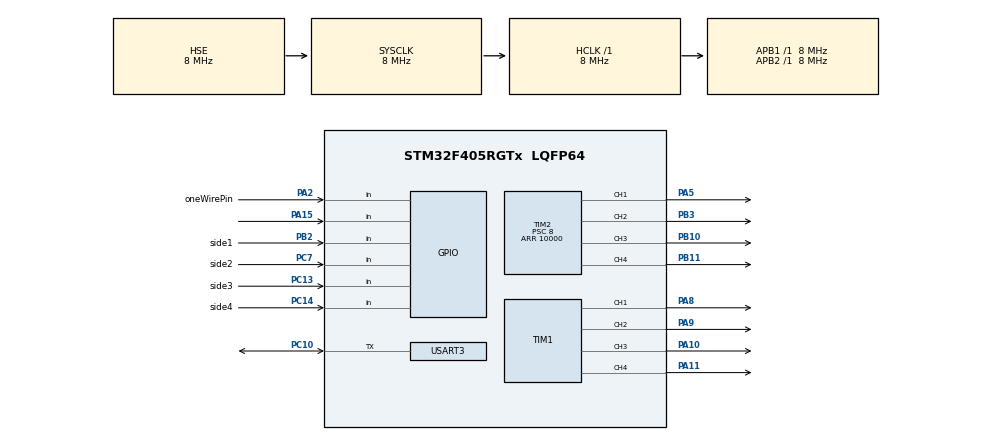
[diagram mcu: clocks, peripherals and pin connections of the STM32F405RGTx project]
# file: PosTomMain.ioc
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Mcu.Family=STM32F4
NVIC.USART3_IRQn=true\:0\:0\:false\:false\:true\:true\:true
Dma.USART3_RX.0.PeriphInc=DMA_PINC_DISABLE
PH0-OSC_IN.Signal=RCC_OSC_IN
SH.S_TIM1_CH4.0=TIM1_CH4,PWM Generation4 CH4
RCC.CortexFreq_Value=8000000
Dma.USART3_TX.1.MemInc=DMA_MINC_ENABLE
PC10.Signal=USART3_TX
Dma.USART3_TX.1.PeriphDataAlignment=DMA_PDATAALIGN_BYTE
Dma.USART3_TX.1.Instance=DMA1_Stream3
TIM2.Channel-PWM\ Generation2\ CH2=TIM_CHANNEL_2
PB11.Signal=S_TIM2_CH4
RCC.SYSCLKSource=RCC_SYSCLKSOURCE_HSE
ProjectManager.StackSize=0x400
TIM1.Channel-PWM\ Generation4\ CH4=TIM_CHANNEL_4
RCC.HCLKFreq_Value=8000000
RCC.APB2TimFreq_Value=8000000
TIM3.Period=10
PB6.Signal=USART1_TX
PC7.Signal=GPIO_Input
RCC.AHBFreq_Value=8000000
PH0-OSC_IN.Mode=HSE-External-Oscillator
RCC.HSE_VALUE=8000000
Dma.USART3_RX.0.MemDataAlignment=DMA_MDATAALIGN_BYTE
PB2.Signal=GPIO_Input
Dma.USART3_TX.1.Mode=DMA_NORMAL
PC13-ANTI_TAMP.Signal=GPIO_Input
TIM1.Channel-PWM\ Generation1\ CH1=TIM_CHANNEL_1
PA14.Mode=Serial_Wire
TIM3.Prescaler=1
Dma.USART3_RX.0.PeriphDataAlignment=DMA_PDATAALIGN_BYTE
PB7.Signal=USART1_RX
Dma.USART3_RX.0.FIFOMode=DMA_FIFOMODE_DISABLE
PA8.Signal=S_TIM1_CH1
TIM2.Channel-PWM\ Generation1\ CH1=TIM_CHANNEL_1
Dma.USART3_TX.1.FIFOMode=DMA_FIFOMODE_DISABLE
Dma.USART3_TX.1.Priority=DMA_PRIORITY_LOW
PH1-OSC_OUT.Mode=HSE-External-Oscillator
Dma.USART3_RX.0.Direction=DMA_PERIPH_TO_MEMORY
Mcu.Package=LQFP64
TIM2.Prescaler=8
PA2.GPIO_Label=oneWirePin
PA10.Signal=S_TIM1_CH3
PA15.Signal=GPIO_Input
Dma.USART3_RX.0.MemInc=DMA_MINC_ENABLE
Dma.Request1=USART3_TX
RCC.APB1TimFreq_Value=8000000
PC14-OSC32_IN.GPIO_Label=side4
Dma.USART3_TX.1.PeriphInc=DMA_PINC_DISABLE
Dma.Request0=USART3_RX
VP_TIM3_VS_ClockSourceINT.Mode=Internal
Dma.USART3_RX.0.Instance=DMA1_Stream1
RCC.PLLSourceVirtual=RCC_PLLSOURCE_HSE
Dma.USART3_TX.1.MemDataAlignment=DMA_MDATAALIGN_BYTE
TIM2.Channel-PWM\ Generation4\ CH4=TIM_CHANNEL_4
PC13-ANTI_TAMP.GPIO_Label=side3
PC10.Mode=Half_duplex(single_wire_mode)
NVIC.DMA1_Stream1_IRQn=true\:0\:0\:false\:false\:true\:false\:true
PC14-OSC32_IN.Signal=GPIO_Input
Dma.USART3_RX.0.Mode=DMA_NORMAL
PA13.Signal=SYS_JTMS-SWDIO
SH.S_TIM2_CH2.0=TIM2_CH2,PWM Generation2 CH2
SH.S_TIM1_CH1.0=TIM1_CH1,PWM Generation1 CH1
ProjectManager.TargetToolchain=STM32CubeIDE
PA9.Signal=S_TIM1_CH2
TIM1.Channel-PWM\ Generation2\ CH2=TIM_CHANNEL_2
RCC.LSE_VALUE=32768
PB10.Signal=S_TIM2_CH3
PA5.Signal=S_TIM2_CH1_ETR
board=custom
RCC.VCOOutputFreq_Value=96000000
NVIC.TIM3_IRQn=true\:0\:0\:false\:false\:true\:true\:true
USART3.WordLength=WORDLENGTH_9B
RCC.APB2Freq_Value=8000000
VP_TIM2_VS_ClockSourceINT.Mode=Internal
SH.S_TIM1_CH2.0=TIM1_CH2,PWM Generation2 CH2
SH.S_TIM2_CH3.0=TIM2_CH3,PWM Generation3 CH3
TIM2.Channel-PWM\ Generation3\ CH3=TIM_CHANNEL_3
PH1-OSC_OUT.Signal=RCC_OSC_OUT
TIM2.Period=10000
PA13.Mode=Serial_Wire
Mcu.Name=STM32F405RGTx
PA2.Signal=GPIO_Input
PC7.GPIO_Label=side2
RCC.48MHZClocksFreq_Value=24000000
PB3.Signal=S_TIM2_CH2
RCC.SYSCLKFreq_VALUE=8000000
Dma.USART3_RX.0.Priority=DMA_PRIORITY_LOW
USART3.VirtualMode=VM_ASYNC
PA11.Signal=S_TIM1_CH4
SH.S_TIM2_CH1_ETR.0=TIM2_CH1,PWM Generation1 CH1
PA14.Signal=SYS_JTCK-SWCLK
PB2.GPIO_Label=side1
ProjectManager.HeapSize=0x200
SH.S_TIM2_CH4.0=TIM2_CH4,PWM Generation4 CH4
SH.S_TIM1_CH3.0=TIM1_CH3,PWM Generation3 CH3
RCC.HSI_VALUE=16000000
NVIC.PriorityGroup=NVIC_PRIORITYGROUP_4
Dma.USART3_TX.1.Direction=DMA_MEMORY_TO_PERIPH
NVIC.DMA1_Stream3_IRQn=true\:0\:0\:false\:false\:true\:false\:true
TIM1.Channel-PWM\ Generation3\ CH3=TIM_CHANNEL_3
RCC.APB1Freq_Value=8000000
USART3.Parity=PARITY_ODD

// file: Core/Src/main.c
/* USER CODE BEGIN Header */
/**
 ******************************************************************************
 * @file           : main.c
 * @brief          : Main program body
 ******************************************************************************
 * @attention
 *
 * <h2><center>&copy; Copyright (c) 2020 STMicroelectronics.
 * All rights reserved.</center></h2>
 *
 * This software component is licensed by ST under BSD 3-Clause license,
 * the "License"; You may not use this file except in compliance with the
 * License. You may obtain a copy of the License at:
 *                        opensource.org/licenses/BSD-3-Clause
 *
 ******************************************************************************
 */
/* USER CODE END Header */
#include "main.h"

/* USER CODE BEGIN Includes */
#include "ledOutput.h"
#include <stdbool.h>
/* USER CODE END Includes */

/* USER CODE BEGIN PD */
#define BUFSIZE 12	//8 for address, 2 for cmd, 2 for param
/* USER CODE END PD */

TIM_HandleTypeDef htim1;
TIM_HandleTypeDef htim2;
TIM_HandleTypeDef htim3;

UART_HandleTypeDef huart3;
DMA_HandleTypeDef hdma_usart3_rx;
DMA_HandleTypeDef hdma_usart3_tx;

/* USER CODE BEGIN PV */
uint8_t tx_buff[BUFSIZE] = { 0, };
uint8_t rx_buff[BUFSIZE] = { 0, };

int LastZero = -1;
int LastDiscrepancy = -1;
int i = 0; //bit_number
int k = 0;
int task = 0;
int cellsamount = 0;
uint8_t addresses[30][8] = { 0, };
union {
	float f;
	uint8_t array[4];
} temp;
/* USER CODE END PV */

void SystemClock_Config(void);
static void MX_GPIO_Init(void);
static void MX_DMA_Init(void);
static void MX_TIM1_Init(void);
static void MX_TIM2_Init(void);
static void MX_TIM3_Init(void);
static void MX_USART3_UART_Init(void);

int main(void) {

	/* MCU Configuration--------------------------------------------------------*/

	/* Reset of all peripherals, Initializes the Flash interface and the Systick. */
	HAL_Init();

	/* Configure the system clock */
	SystemClock_Config();

	/* Initialize all configured peripherals */
	MX_GPIO_Init();
	MX_DMA_Init();
	MX_TIM1_Init();
	MX_TIM2_Init();
	MX_TIM3_Init();
	MX_USART3_UART_Init();
	/* USER CODE BEGIN 2 */
	HAL_TIM_PWM_Start(&htim1, TIM_CHANNEL_1);
	HAL_TIM_PWM_Start(&htim1, TIM_CHANNEL_2);
	HAL_TIM_PWM_Start(&htim1, TIM_CHANNEL_3);
	TIM1->CCR1 = 1;
	TIM1->CCR2 = 1;
	TIM1->CCR3 = 1;
	/* USER CODE END 2 */

	/* Infinite loop */
	/* USER CODE BEGIN WHILE */
	tx_buff[0] = 0x00;
	tx_buff[1] = 0x00;
	tx_buff[2] = 0x00;
	tx_buff[3] = 0x00;
	tx_buff[4] = 0x00;
	tx_buff[5] = 0x00;
	tx_buff[6] = 0x00;
	tx_buff[7] = 0x00;

	tx_buff[8] = 0x00;
	tx_buff[9] = 0x01;

	tx_buff[10] = 0x00;
	tx_buff[11] = 0x00;

	task = 1;

	/*tx_buff[0] = 0xff;
	 tx_buff[1] = 0xff;
	 tx_buff[2] = 0xaa;
	 tx_buff[3] = 0xff;
	 tx_buff[4] = 0xaa;
	 tx_buff[5] = 0xff;
	 tx_buff[6] = 0xaa;
	 tx_buff[7] = 0xff;

	 tx_buff[8] = 0x00;
	 tx_buff[9] = 0x02;

	 tx_buff[10] = 0x00;
	 tx_buff[11] = 0x00;

	 task = 2;
	 HAL_HalfDuplex_EnableTransmitter(&huart3);
	 HAL_UART_Transmit_DMA(&huart3, tx_buff, BUFSIZE);*/

	for (int wait = 0; wait < 100; wait++)
		;
	HAL_HalfDuplex_EnableTransmitter(&huart3);
	if (HAL_UART_Transmit_DMA(&huart3, tx_buff, BUFSIZE) == !HAL_OK) {
		Error_Handler();
	}

	while (1) {

		/* USER CODE END WHILE */

	}
}

void SystemClock_Config(void) {
	RCC_OscInitTypeDef RCC_OscInitStruct = { 0 };
	RCC_ClkInitTypeDef RCC_ClkInitStruct = { 0 };

	/** Configure the main internal regulator output voltage
	 */
	__HAL_RCC_PWR_CLK_ENABLE();
	__HAL_PWR_VOLTAGESCALING_CONFIG(PWR_REGULATOR_VOLTAGE_SCALE1);
	/** Initializes the RCC Oscillators according to the specified parameters
	 * in the RCC_OscInitTypeDef structure.
	 */
	RCC_OscInitStruct.OscillatorType = RCC_OSCILLATORTYPE_HSE;
	RCC_OscInitStruct.HSEState = RCC_HSE_ON;
	RCC_OscInitStruct.PLL.PLLState = RCC_PLL_NONE;
	if (HAL_RCC_OscConfig(&RCC_OscInitStruct) != HAL_OK) {
		Error_Handler();
	}
	/** Initializes the CPU, AHB and APB buses clocks
	 */
	RCC_ClkInitStruct.ClockType = RCC_CLOCKTYPE_HCLK | RCC_CLOCKTYPE_SYSCLK
			| RCC_CLOCKTYPE_PCLK1 | RCC_CLOCKTYPE_PCLK2;
	RCC_ClkInitStruct.SYSCLKSource = RCC_SYSCLKSOURCE_HSE;
	RCC_ClkInitStruct.AHBCLKDivider = RCC_SYSCLK_DIV1;
	RCC_ClkInitStruct.APB1CLKDivider = RCC_HCLK_DIV1;
	RCC_ClkInitStruct.APB2CLKDivider = RCC_HCLK_DIV1;

	if (HAL_RCC_ClockConfig(&RCC_ClkInitStruct, FLASH_LATENCY_0) != HAL_OK) {
		Error_Handler();
	}
}

static void MX_TIM1_Init(void) {

	TIM_MasterConfigTypeDef sMasterConfig = { 0 };
	TIM_OC_InitTypeDef sConfigOC = { 0 };
	TIM_BreakDeadTimeConfigTypeDef sBreakDeadTimeConfig = { 0 };

	htim1.Instance = TIM1;
	htim1.Init.Prescaler = 0;
	htim1.Init.CounterMode = TIM_COUNTERMODE_UP;
	htim1.Init.Period = 65535;
	htim1.Init.ClockDivision = TIM_CLOCKDIVISION_DIV1;
	htim1.Init.RepetitionCounter = 0;
	htim1.Init.AutoReloadPreload = TIM_AUTORELOAD_PRELOAD_DISABLE;
	if (HAL_TIM_PWM_Init(&htim1) != HAL_OK) {
		Error_Handler();
	}
	sMasterConfig.MasterOutputTrigger = TIM_TRGO_RESET;
	sMasterConfig.MasterSlaveMode = TIM_MASTERSLAVEMODE_DISABLE;
	if (HAL_TIMEx_MasterConfigSynchronization(&htim1, &sMasterConfig)
			!= HAL_OK) {
		Error_Handler();
	}
	sConfigOC.OCMode = TIM_OCMODE_PWM1;
	sConfigOC.Pulse = 0;
	sConfigOC.OCPolarity = TIM_OCPOLARITY_HIGH;
	sConfigOC.OCNPolarity = TIM_OCNPOLARITY_HIGH;
	sConfigOC.OCFastMode = TIM_OCFAST_DISABLE;
	sConfigOC.OCIdleState = TIM_OCIDLESTATE_RESET;
	sConfigOC.OCNIdleState = TIM_OCNIDLESTATE_RESET;
	if (HAL_TIM_PWM_ConfigChannel(&htim1, &sConfigOC, TIM_CHANNEL_1)
			!= HAL_OK) {
		Error_Handler();
	}
	if (HAL_TIM_PWM_ConfigChannel(&htim1, &sConfigOC, TIM_CHANNEL_2)
			!= HAL_OK) {
		Error_Handler();
	}
	if (HAL_TIM_PWM_ConfigChannel(&htim1, &sConfigOC, TIM_CHANNEL_3)
			!= HAL_OK) {
		Error_Handler();
	}
	if (HAL_TIM_PWM_ConfigChannel(&htim1, &sConfigOC, TIM_CHANNEL_4)
			!= HAL_OK) {
		Error_Handler();
	}
	sBreakDeadTimeConfig.OffStateRunMode = TIM_OSSR_DISABLE;
	sBreakDeadTimeConfig.OffStateIDLEMode = TIM_OSSI_DISABLE;
	sBreakDeadTimeConfig.LockLevel = TIM_LOCKLEVEL_OFF;
	sBreakDeadTimeConfig.DeadTime = 0;
	sBreakDeadTimeConfig.BreakState = TIM_BREAK_DISABLE;
	sBreakDeadTimeConfig.BreakPolarity = TIM_BREAKPOLARITY_HIGH;
	sBreakDeadTimeConfig.AutomaticOutput = TIM_AUTOMATICOUTPUT_DISABLE;
	if (HAL_TIMEx_ConfigBreakDeadTime(&htim1, &sBreakDeadTimeConfig)
			!= HAL_OK) {
		Error_Handler();
	}
	HAL_TIM_MspPostInit(&htim1);

}

static void MX_TIM2_Init(void) {

	TIM_ClockConfigTypeDef sClockSourceConfig = { 0 };
	TIM_MasterConfigTypeDef sMasterConfig = { 0 };
	TIM_OC_InitTypeDef sConfigOC = { 0 };

	htim2.Instance = TIM2;
	htim2.Init.Prescaler = 8;
	htim2.Init.CounterMode = TIM_COUNTERMODE_UP;
	htim2.Init.Period = 10000;
	htim2.Init.ClockDivision = TIM_CLOCKDIVISION_DIV1;
	htim2.Init.AutoReloadPreload = TIM_AUTORELOAD_PRELOAD_DISABLE;
	if (HAL_TIM_Base_Init(&htim2) != HAL_OK) {
		Error_Handler();
	}
	sClockSourceConfig.ClockSource = TIM_CLOCKSOURCE_INTERNAL;
	if (HAL_TIM_ConfigClockSource(&htim2, &sClockSourceConfig) != HAL_OK) {
		Error_Handler();
	}
	if (HAL_TIM_PWM_Init(&htim2) != HAL_OK) {
		Error_Handler();
	}
	sMasterConfig.MasterOutputTrigger = TIM_TRGO_RESET;
	sMasterConfig.MasterSlaveMode = TIM_MASTERSLAVEMODE_DISABLE;
	if (HAL_TIMEx_MasterConfigSynchronization(&htim2, &sMasterConfig)
			!= HAL_OK) {
		Error_Handler();
	}
	sConfigOC.OCMode = TIM_OCMODE_PWM1;
	sConfigOC.Pulse = 0;
	sConfigOC.OCPolarity = TIM_OCPOLARITY_HIGH;
	sConfigOC.OCFastMode = TIM_OCFAST_DISABLE;
	if (HAL_TIM_PWM_ConfigChannel(&htim2, &sConfigOC, TIM_CHANNEL_1)
			!= HAL_OK) {
		Error_Handler();
	}
	if (HAL_TIM_PWM_ConfigChannel(&htim2, &sConfigOC, TIM_CHANNEL_2)
			!= HAL_OK) {
		Error_Handler();
	}
	if (HAL_TIM_PWM_ConfigChannel(&htim2, &sConfigOC, TIM_CHANNEL_3)
			!= HAL_OK) {
		Error_Handler();
	}
	if (HAL_TIM_PWM_ConfigChannel(&htim2, &sConfigOC, TIM_CHANNEL_4)
			!= HAL_OK) {
		Error_Handler();
	}
	HAL_TIM_MspPostInit(&htim2);

}

static void MX_TIM3_Init(void) {

	TIM_ClockConfigTypeDef sClockSourceConfig = { 0 };
	TIM_MasterConfigTypeDef sMasterConfig = { 0 };

	htim3.Instance = TIM3;
	htim3.Init.Prescaler = 1;
	htim3.Init.CounterMode = TIM_COUNTERMODE_UP;
	htim3.Init.Period = 10;
	htim3.Init.ClockDivision = TIM_CLOCKDIVISION_DIV1;
	htim3.Init.AutoReloadPreload = TIM_AUTORELOAD_PRELOAD_DISABLE;
	if (HAL_TIM_Base_Init(&htim3) != HAL_OK) {
		Error_Handler();
	}
	sClockSourceConfig.ClockSource = TIM_CLOCKSOURCE_INTERNAL;
	if (HAL_TIM_ConfigClockSource(&htim3, &sClockSourceConfig) != HAL_OK) {
		Error_Handler();
	}
	sMasterConfig.MasterOutputTrigger = TIM_TRGO_RESET;
	sMasterConfig.MasterSlaveMode = TIM_MASTERSLAVEMODE_DISABLE;
	if (HAL_TIMEx_MasterConfigSynchronization(&htim3, &sMasterConfig)
			!= HAL_OK) {
		Error_Handler();
	}

}

static void MX_USART3_UART_Init(void) {

	huart3.Instance = USART3;
	huart3.Init.BaudRate = 115200;
	huart3.Init.WordLength = UART_WORDLENGTH_9B;
	huart3.Init.StopBits = UART_STOPBITS_1;
	huart3.Init.Parity = UART_PARITY_ODD;
	huart3.Init.Mode = UART_MODE_TX_RX;
	huart3.Init.HwFlowCtl = UART_HWCONTROL_NONE;
	huart3.Init.OverSampling = UART_OVERSAMPLING_16;
	if (HAL_HalfDuplex_Init(&huart3) != HAL_OK) {
		Error_Handler();
	}
	/* USER CODE BEGIN USART3_Init 2 */
	HAL_NVIC_EnableIRQ(USART3_IRQn);
	/* USER CODE END USART3_Init 2 */

}

static void MX_DMA_Init(void) {

	/* DMA controller clock enable */
	__HAL_RCC_DMA1_CLK_ENABLE();

	/* DMA interrupt init */
	/* DMA1_Stream1_IRQn interrupt configuration */
	HAL_NVIC_SetPriority(DMA1_Stream1_IRQn, 0, 0);
	HAL_NVIC_EnableIRQ(DMA1_Stream1_IRQn);
	/* DMA1_Stream3_IRQn interrupt configuration */
	HAL_NVIC_SetPriority(DMA1_Stream3_IRQn, 0, 0);
	HAL_NVIC_EnableIRQ(DMA1_Stream3_IRQn);

}

static void MX_GPIO_Init(void) {
	GPIO_InitTypeDef GPIO_InitStruct = { 0 };

	/* GPIO Ports Clock Enable */
	__HAL_RCC_GPIOC_CLK_ENABLE();
	__HAL_RCC_GPIOH_CLK_ENABLE();
	__HAL_RCC_GPIOA_CLK_ENABLE();
	__HAL_RCC_GPIOB_CLK_ENABLE();

	/*Configure GPIO pins : side3_Pin side4_Pin side2_Pin */
	GPIO_InitStruct.Pin = side3_Pin | side4_Pin | side2_Pin;
	GPIO_InitStruct.Mode = GPIO_MODE_INPUT;
	GPIO_InitStruct.Pull = GPIO_NOPULL;
	HAL_GPIO_Init(GPIOC, &GPIO_InitStruct);

	/*Configure GPIO pins : oneWirePin_Pin PA15 */
	GPIO_InitStruct.Pin = oneWirePin_Pin | GPIO_PIN_15;
	GPIO_InitStruct.Mode = GPIO_MODE_INPUT;
	GPIO_InitStruct.Pull = GPIO_NOPULL;
	HAL_GPIO_Init(GPIOA, &GPIO_InitStruct);

	/*Configure GPIO pin : side1_Pin */
	GPIO_InitStruct.Pin = side1_Pin;
	GPIO_InitStruct.Mode = GPIO_MODE_INPUT;
	GPIO_InitStruct.Pull = GPIO_NOPULL;
	HAL_GPIO_Init(side1_GPIO_Port, &GPIO_InitStruct);

	/*Configure GPIO pins : PB6 PB7 */
	GPIO_InitStruct.Pin = GPIO_PIN_6 | GPIO_PIN_7;
	GPIO_InitStruct.Mode = GPIO_MODE_AF_PP;
	GPIO_InitStruct.Pull = GPIO_NOPULL;
	GPIO_InitStruct.Speed = GPIO_SPEED_FREQ_VERY_HIGH;
	GPIO_InitStruct.Alternate = GPIO_AF7_USART1;
	HAL_GPIO_Init(GPIOB, &GPIO_InitStruct);

}

/* USER CODE BEGIN 4 */

int rs = +1;
int gs = -1;
int bs = +1;

int r = 300;
int g = 500;
int b = 800;

int ra = 5;
int ga = 8;
int ba = 10;

int rlim = 10000;
int glim = 7000;
int blim = 7000;

void HAL_TIM_PeriodElapsedCallback(TIM_HandleTypeDef *htim) {
	/* Prevent unused argument(s) compilation warning */
	UNUSED(htim);

	/* NOTE : This function should not be modified, when the callback is needed,
	 the HAL_TIM_PeriodElapsedCallback could be implemented in the user file
	 */

}

void HAL_UART_TxCpltCallback(UART_HandleTypeDef *huart) {
	/*longBlinkCayan();*/
	if (huart == &huart3) {
		if (task == 1) {
			for (int wait = 0; wait < 150; wait++)
				;
			rx_buff[0] = HAL_GPIO_ReadPin(GPIOA, GPIO_PIN_15) * 255;
			for (int wait = 0; wait < 100; wait++)
				;
			rx_buff[1] = HAL_GPIO_ReadPin(GPIOA, GPIO_PIN_15) * 255;
			for (int wait = 0; wait < 400; wait++)
				;
			HAL_UART_RxCpltCallback(&huart3);
			return;
		}
		if (task == 2) {
			HAL_HalfDuplex_EnableReceiver(&huart3);
			if (HAL_UART_Receive_DMA(&huart3, rx_buff, BUFSIZE) == !HAL_OK) {
				shortBlinkRed();
			}
			shortBlinkCayan();
			return;
		}

		/*
		 HAL_HalfDuplex_EnableReceiver(&huart3);
		 if(HAL_UART_Receive_DMA (&huart3, rx_buff, 2)==!HAL_OK){Error_Handler();}*/
	}
}

void HAL_UART_RxCpltCallback(UART_HandleTypeDef *huart) {
	if (huart == &huart3) {

		if (task == 1) {
			if (rx_buff[0] == rx_buff[1]) {
				if (i > LastDiscrepancy) {
					LastZero = i;
					tx_buff[10] = 0x00;

				} else {
					if (i == LastDiscrepancy) {
						tx_buff[10] = 0xff;
					} else {
						if (((addresses[k - 1][i / 8] >> (i % 8)) & 0x01)
								== 0x01) {
							LastZero = i;
							tx_buff[10] = 0xff;
						} else {
							tx_buff[10] = 0x00;
						}
					}
				}
			} else {
				tx_buff[10] = rx_buff[0];
			}
			addresses[k][i / 8] = addresses[k][i / 8]
					| ((tx_buff[10] & 0x01) << (i % 8));
			i++;
			bool alreadyseen = false;
			if (i >= 64) {
				i = 0;
				LastDiscrepancy = LastZero;
				LastZero = 0;
				tx_buff[10] = 0x00;
				for (int ii = 0; (ii < k) && !alreadyseen; ii++) {
					bool same = true;
					for (int jj = 0; jj < 8; jj++) {
						same = same && (addresses[k][jj] == addresses[ii][jj]);
					}
					alreadyseen = alreadyseen || same;
				}
				k++;
			}

			if (alreadyseen) {
				cellsamount = k-1;
				task = 0;
				i = 0;
				k = 0;
				/*tx_buff[0] = 0xff;
				tx_buff[1] = 0xff;
				tx_buff[2] = 0xaa;
				tx_buff[3] = 0xff;
				tx_buff[4] = 0xaa;
				tx_buff[5] = 0xff;
				tx_buff[6] = 0xaa;
				tx_buff[7] = 0xff;

				tx_buff[8] = 0x00;
				tx_buff[9] = 0x02;

				tx_buff[10] = 0x00;
				tx_buff[11] = 0x00;

				task = 2;
				for (int wait = 0; wait < 100; wait++)
					;

				HAL_HalfDuplex_EnableTransmitter(&huart3);
				HAL_UART_Transmit_DMA(&huart3, tx_buff, BUFSIZE);*/
				updateTopology();
				return;
			} else {
				tx_buff[11] = i;
				HAL_HalfDuplex_EnableTransmitter(&huart3);
				HAL_UART_Transmit_DMA(&huart3, tx_buff, BUFSIZE);
				return;
			}
		}

		if (task == 2) {
			temp.array[0] = rx_buff[0];
			temp.array[1] = rx_buff[1];
			temp.array[2] = rx_buff[2];
			temp.array[3] = rx_buff[3];

			updateTopology();
			return;
		}

	}
}

uint32_t er;
void HAL_UART_ErrorCallback(UART_HandleTypeDef *huart) {
	if (huart == &huart3) {
		er = HAL_UART_GetError(&huart3);
		switch (er) {
		case HAL_UART_ERROR_PE:

			break;

		case HAL_UART_ERROR_NE:

			break;

		case HAL_UART_ERROR_FE:

			break;

		case HAL_UART_ERROR_ORE:

			break;

		case HAL_UART_ERROR_DMA:

			break;

		default:
			break;
		}
	}
}

void __delay_ms(int32_t drzz)
{
	int32_t iik,jjk ;
	for(iik=0;iik<drzz;iik++)
		for(jjk=0;jjk<3000;jjk++)
		{

		}
}

void updateTopology() {
	task = 3;
	for (int zt = 0; zt < cellsamount; zt++) {
		tx_buff[0] = addresses[zt][0];
		tx_buff[1] = addresses[zt][1];
		tx_buff[2] = addresses[zt][2];
		tx_buff[3] = addresses[zt][3];
		tx_buff[4] = addresses[zt][4];
		tx_buff[5] = addresses[zt][5];
		tx_buff[6] = addresses[zt][6];
		tx_buff[7] = addresses[zt][7];

		tx_buff[8] = 0x00;
		tx_buff[9] = 0x03;

		tx_buff[10] = 0x00;
		tx_buff[11] = 0x00;

		HAL_HalfDuplex_EnableTransmitter(&huart3);
		HAL_UART_Transmit(&huart3, tx_buff, BUFSIZE,100);

		__delay_ms(900);
	}
}

/* USER CODE END 4 */

void Error_Handler(void) {
	__disable_irq();
	while (1) {
	}
}

/************************ (C) COPYRIGHT STMicroelectronics *****END OF FILE****/
